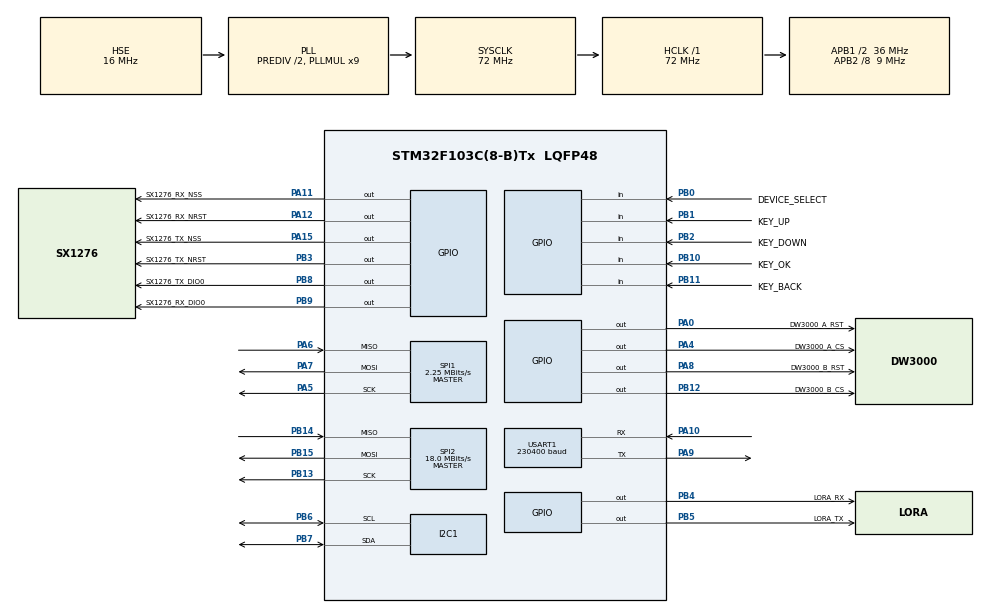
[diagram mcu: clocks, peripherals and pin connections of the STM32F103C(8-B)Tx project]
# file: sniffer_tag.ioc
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Mcu.Family=STM32F1
Mcu.Name=STM32F103C(8-B)Tx
Mcu.Package=LQFP48
NVIC.PriorityGroup=NVIC_PRIORITYGROUP_4
NVIC.TIM4_IRQn=true\:0\:0\:false\:false\:true\:true\:true\:true
NVIC.USART1_IRQn=true\:0\:0\:false\:false\:true\:true\:true\:true
PA0-WKUP.GPIO_Label=DW3000_A_RST
PA0-WKUP.Signal=GPIO_Output
PA10.Mode=Asynchronous
PA10.Signal=USART1_RX
PA11.GPIO_Label=SX1276_RX_NSS
PA11.Signal=GPIO_Output
PA12.GPIO_Label=SX1276_RX_NRST
PA12.Signal=GPIO_Output
PA13.Mode=Serial_Wire
PA13.Signal=SYS_JTMS-SWDIO
PA14.Mode=Serial_Wire
PA14.Signal=SYS_JTCK-SWCLK
PA15.GPIO_Label=SX1276_TX_NSS
PA15.Signal=GPIO_Output
PA4.GPIO_Label=DW3000_A_CS
PA4.GPIO_PuPd=GPIO_PULLUP
PA4.GPIO_Speed=GPIO_SPEED_FREQ_HIGH
PA4.PinState=GPIO_PIN_SET
PA4.Signal=GPIO_Output
PA5.Mode=Full_Duplex_Master
PA5.Signal=SPI1_SCK
PA6.Mode=Full_Duplex_Master
PA6.Signal=SPI1_MISO
PA7.Mode=Full_Duplex_Master
PA7.Signal=SPI1_MOSI
PA8.GPIO_Label=DW3000_B_RST
PA8.Signal=GPIO_Output
PA9.Mode=Asynchronous
PA9.Signal=USART1_TX
PB0.GPIO_Label=DEVICE_SELECT
PB0.GPIO_PuPd=GPIO_PULLUP
PB0.Signal=GPIO_Input
PB1.GPIO_Label=KEY_UP
PB1.GPIO_PuPd=GPIO_PULLUP
PB1.Signal=GPIO_Input
PB10.GPIO_Label=KEY_OK
PB10.GPIO_PuPd=GPIO_PULLUP
PB10.Signal=GPIO_Input
PB11.GPIO_Label=KEY_BACK
PB11.GPIO_PuPd=GPIO_PULLUP
PB11.Signal=GPIO_Input
PB12.GPIO_Label=DW3000_B_CS
PB12.GPIO_PuPd=GPIO_PULLUP
PB12.GPIO_Speed=GPIO_SPEED_FREQ_HIGH
PB12.PinState=GPIO_PIN_SET
PB12.Signal=GPIO_Output
PB13.Mode=Full_Duplex_Master
PB13.Signal=SPI2_SCK
PB14.Mode=Full_Duplex_Master
PB14.Signal=SPI2_MISO
PB15.Mode=Full_Duplex_Master
PB15.Signal=SPI2_MOSI
PB2.GPIO_Label=KEY_DOWN
PB2.GPIO_PuPd=GPIO_PULLUP
PB2.Signal=GPIO_Input
PB3.GPIO_Label=SX1276_TX_NRST
PB3.Signal=GPIO_Output
PB4.GPIO_Label=LORA_RX
PB4.Signal=GPIO_Output
PB5.GPIO_Label=LORA_TX
PB5.Signal=GPIO_Output
PB6.Mode=I2C
PB6.Signal=I2C1_SCL
PB7.Mode=I2C
PB7.Signal=I2C1_SDA
PB8.GPIO_Label=SX1276_TX_DIO0
PB8.Signal=GPIO_Output
PB9.GPIO_Label=SX1276_RX_DIO0
PB9.Signal=GPIO_Output
PD0-OSC_IN.Mode=HSE-External-Oscillator
PD0-OSC_IN.Signal=RCC_OSC_IN
PD1-OSC_OUT.Mode=HSE-External-Oscillator
PD1-OSC_OUT.Signal=RCC_OSC_OUT
ProjectManager.HeapSize=0x200
ProjectManager.StackSize=0x400
ProjectManager.TargetToolchain=STM32CubeIDE
RCC.AHBFreq_Value=72000000
RCC.APB1CLKDivider=RCC_HCLK_DIV2
RCC.APB1Freq_Value=36000000
RCC.APB1TimFreq_Value=72000000
RCC.APB2CLKDivider=RCC_HCLK_DIV8
RCC.APB2Freq_Value=9000000
RCC.APB2TimFreq_Value=18000000
RCC.HCLKFreq_Value=72000000
RCC.HSEDivPLL=RCC_HSE_PREDIV_DIV2
RCC.HSE_VALUE=16000000
RCC.PLLMUL=RCC_PLL_MUL9
RCC.PLLSourceVirtual=RCC_PLLSOURCE_HSE
RCC.SYSCLKFreq_VALUE=72000000
RCC.SYSCLKSource=RCC_SYSCLKSOURCE_PLLCLK
RCC.USBFreq_Value=72000000
SPI1.BaudRatePrescaler=SPI_BAUDRATEPRESCALER_4
SPI1.CalculateBaudRate=2.25 MBits/s
SPI1.Direction=SPI_DIRECTION_2LINES
SPI1.Mode=SPI_MODE_MASTER
SPI1.VirtualType=VM_MASTER
SPI2.BaudRatePrescaler=SPI_BAUDRATEPRESCALER_2
SPI2.CalculateBaudRate=18.0 MBits/s
SPI2.Direction=SPI_DIRECTION_2LINES
SPI2.Mode=SPI_MODE_MASTER
SPI2.VirtualType=VM_MASTER
TIM4.Period=6
TIM4.Prescaler=7200-1
USART1.BaudRate=230400
USART1.VirtualMode=VM_ASYNC
VP_TIM4_VS_ClockSourceINT.Mode=Internal
board=custom

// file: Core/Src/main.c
/* USER CODE BEGIN Header */
/**
 ******************************************************************************
 * @file           : main.c
 * @brief          : Main program body
 ******************************************************************************
 * @attention
 *
 * Copyright (c) 2024 STMicroelectronics.
 * All rights reserved.
 *
 * This software is licensed under terms that can be found in the LICENSE file
 * in the root directory of this software component.
 * If no LICENSE file comes with this software, it is provided AS-IS.
 *
 ******************************************************************************
 */
/* USER CODE END Header */
#include "main.h"

/* USER CODE BEGIN Includes */
#include "sniffer_tag.h"
/* USER CODE END Includes */

/* USER CODE BEGIN PTD */
struct flags_t flags;
double *distance_ptr;
TAG_t *tag;
int size = 0;
uint8_t running_device = DEV_UWB3000F27;
SPI_HW_t *hw_a;
SPI_HW_t *hw_b;
SPI_HW_t *hw;
dwt_local_data_t *pdw3000local;
uint8_t crcTable[256];
uint8_t recvChar;
LORA_t lora;
SX1276_HW_t sx1276_hw_tx;
SX1276_HW_t sx1276_hw_rx;
/* USER CODE END PTD */

I2C_HandleTypeDef hi2c1;

SPI_HandleTypeDef hspi1;
SPI_HandleTypeDef hspi2;

TIM_HandleTypeDef htim4;

UART_HandleTypeDef huart1;

void SystemClock_Config(void);
static void MX_GPIO_Init(void);
static void MX_SPI1_Init(void);
static void MX_SPI2_Init(void);
static void MX_TIM4_Init(void);
static void MX_USART1_UART_Init(void);
static void MX_I2C1_Init(void);

int main(void)
{

  /* USER CODE BEGIN 1 */
	HAL_DeInit();
	HAL_RCC_DeInit();

  /* USER CODE END 1 */

  /* MCU Configuration--------------------------------------------------------*/

  /* Reset of all peripherals, Initializes the Flash interface and the Systick. */
  HAL_Init();

  /* Configure the system clock */
  SystemClock_Config();

  /* Initialize all configured peripherals */
  MX_GPIO_Init();
  MX_SPI1_Init();
  MX_SPI2_Init();
  MX_TIM4_Init();
  MX_USART1_UART_Init();
  MX_I2C1_Init();
  /* USER CODE BEGIN 2 */

	pdw3000local = malloc(sizeof(dwt_local_data_t));

	init_sx1276_hw(&sx1276_hw_tx, &hspi2, SX1276_TX_NSS_GPIO_Port,
	SX1276_TX_NSS_Pin,
	SX1276_TX_NRST_GPIO_Port, SX1276_TX_NRST_Pin,
	SX1276_TX_DIO0_GPIO_Port,
	SX1276_TX_DIO0_Pin);

	init_sx1276_hw(&sx1276_hw_rx, &hspi2, SX1276_RX_NSS_GPIO_Port,
	SX1276_RX_NSS_Pin,
	SX1276_RX_NRST_GPIO_Port, SX1276_RX_NRST_Pin,
	SX1276_RX_DIO0_GPIO_Port,
	SX1276_RX_DIO0_Pin);

	lora_init(&lora, &sx1276_hw_tx, &sx1276_hw_rx);
	TAG_List list = { NULL, 0 };
	SPI_HW_t *hw_a = init_uwb_device(&hspi1, DW3000_A_CS_GPIO_Port,
	DW3000_A_CS_Pin,
	DW3000_A_RST_GPIO_Port, DW3000_A_RST_Pin);
	SPI_HW_t *hw_b = init_uwb_device(&hspi1, DW3000_B_CS_GPIO_Port,
	DW3000_B_CS_Pin,
	DW3000_B_RST_GPIO_Port, DW3000_B_RST_Pin);

	/* Frames used in the ranging process. See NOTE 2 below. */

	/* Hold copy of status register state here for reference so that it can be examined at a debug breakpoint. */
	TAG_t tag;
	reset_TAG_values(&tag);

	TAG_STATUS_t tag_status = TAG_DISCOVERY;
	uint32_t lora_send_timeout = 5000;
	uint32_t lora_send_ticks = HAL_GetTick();
	uint32_t query_timeout = 1000;
	uint32_t query_ticks;

	RDSS_status_t rdss_status;

	/* Time-stamps of frames transmission/reception, expressed in device time units. */
  /* USER CODE END 2 */

  /* Infinite loop */
  /* USER CODE BEGIN WHILE */

	while (1) {
		if (tag_status == TAG_DISCOVERY) {

			if (hw == hw_a) {
				hw = hw_b;
				tag.distance = &(tag.distance_b);
			} else {
				hw = hw_a;
				tag.distance = &(tag.distance_a);
			}

			tag_status = tag_discovery(&tag);

			if (tag_status != TAG_SEND_TIMESTAMP_QUERY)
				tag_status = TAG_DISCOVERY;
			else
				query_ticks = HAL_GetTick();
			set_battery_voltage(&(tag.battery_voltage));
			set_temperature(&(tag.temperature));
			debug(tag, tag_status);

		} else if (tag_status == TAG_SEND_TIMESTAMP_QUERY) {
			if (tag.readings < DISTANCE_READINGS) {
				if (hw == hw_a) {
					hw = hw_b;
					tag.distance = &(tag.distance_b);
				} else {
					hw = hw_a;
					tag.distance = &(tag.distance_a);
				}
				tag.command = TAG_TIMESTAMP_QUERY;
			}
			if (tag.readings == DISTANCE_READINGS - 2) {
				tag.command = TAG_SET_SLEEP_MODE;
				tag_status = TAG_SEND_SET_SLEEP;
			}
			debug(tag, tag_status);
			tag_status = tag_send_timestamp_query(&tag);

			if (tag_status == TAG_SEND_TIMESTAMP_QUERY) {
				tag.readings++;
				tag_status = TAG_SEND_TIMESTAMP_QUERY;

			} else if (tag_status == TAG_END_READINGS) {
				double distance_a_sum = 0;
				double distance_b_sum = 0;
				for (uint8_t i = 0; i < tag.distance_a.counter; i++)
					distance_a_sum += tag.distance_a.readings[i];

				for (uint8_t i = 0; i < tag.distance_b.counter; i++)
					distance_b_sum += tag.distance_b.readings[i];

				tag.distance_a.value = (uint16_t) ((distance_a_sum * 100)
						/ tag.distance_a.counter);
				tag.distance_b.value = (uint16_t) ((distance_b_sum * 100)
						/ tag.distance_b.counter);
				insert_tag(&list, tag);
				tag_status = TAG_DISCOVERY;
				reset_TAG_values(&tag);
			} else {
				tag_status = TAG_SEND_TIMESTAMP_QUERY;
			}
			debug(tag, tag_status);
			if (HAL_GetTick() - query_ticks > query_timeout) {
				tag_status = TAG_DISCOVERY;
				reset_TAG_values(&tag);
			}

		}

		if (read_lora_packet(&lora) > 0) {
			rdss_status = rdss_validation(lora.rxData, lora.rxSize, 0x00);
			if (rdss_status == DATA_OK) {
				uint8_t *rx = lora.rxData;
				size_t temp_value = 1 + list.count * SERIALIZED_TAG_SIZE; // Or use uint32_t
				uint8_t tag_bytes = (uint8_t) temp_value;
				uint8_t response_length = calculate_frame_length(tag_bytes);
				uint8_t *tx = malloc(sizeof(uint8_t) * response_length);
				if (tx == NULL) {
					Error_Handler();
				}
				memset(tx, 0, response_length);
				memcpy(tx, rx, LORA_DATA_LENGHT_INDEX_1);
				memcpy(tx + LORA_DATA_LENGHT_INDEX_1, &tag_bytes,
						sizeof(tag_bytes));
				uint8_t *tx_data = tx + LORA_DATA_START_INDEX;
				tx_data[0] = list.count;
				tx_data++;
				serialize_tag_list(&list, tx_data);
				uint8_t CRC_INDEX = LORA_DATA_START_INDEX
						+ tx[LORA_DATA_LENGHT_INDEX_1];
				uint8_t END_INDEX = CRC_INDEX + CRC_SIZE;
				setCrc(tx, CRC_INDEX);
				tx[END_INDEX] = LTEL_END_MARK;
				HAL_GPIO_WritePin(LORA_TX_GPIO_Port, LORA_TX_Pin,
						GPIO_PIN_RESET);
				write_lora_RegFifo(lora.txhw, tx, response_length);
				start_lora_transmission(lora.txhw);
				HAL_GPIO_WritePin(LORA_TX_GPIO_Port, LORA_TX_Pin, GPIO_PIN_SET);
				serialize_tag_list(&list, tx_data);
				free(tx);
				print_all_tags(&list, tag_status);
				print_serialized_tags(&list);
				free_tag_list(&list);
				restart_lora_rx_continuous_mode(&lora);
			} else {
				lora_reset(lora.txhw);
				lora_reset(lora.rxhw);
				init_lora_parameters(&lora);
			}
		}

		if (((HAL_GetTick() - lora_send_ticks) > lora_send_timeout)
				&& tag_status == TAG_DISCOVERY) {
			debug_status(tag_status);
			size_t temp_value = 1 + list.count * SERIALIZED_TAG_SIZE; // Or use uint32_t
			uint8_t tag_bytes = (uint8_t) temp_value;
			uint8_t response_length = calculate_frame_length(tag_bytes);
			uint8_t tx[response_length];
			memset(tx, 0, response_length);
			memcpy(tx + LORA_DATA_LENGHT_INDEX_1, &tag_bytes,
					sizeof(tag_bytes));
			uint8_t *tx_data = tx + LORA_DATA_START_INDEX;
			tx_data[0] = list.count;
			tx_data++;
			serialize_tag_list(&list, tx_data);
			uint8_t CRC_INDEX = LORA_DATA_START_INDEX
					+ tx[LORA_DATA_LENGHT_INDEX_1];
			uint8_t END_INDEX = CRC_INDEX + CRC_SIZE;
			setCrc(tx, CRC_INDEX);
			tx[END_INDEX] = LTEL_END_MARK;
			print_all_tags(&list, tag_status);
			print_serialized_tags(&list);
			print_tx_hex(tx, response_length);
			free_tag_list(&list);
			lora_send_ticks = HAL_GetTick();
		}
    /* USER CODE END WHILE */

	}
}

void SystemClock_Config(void)
{
  RCC_OscInitTypeDef RCC_OscInitStruct = {0};
  RCC_ClkInitTypeDef RCC_ClkInitStruct = {0};

  /** Initializes the RCC Oscillators according to the specified parameters
  * in the RCC_OscInitTypeDef structure.
  */
  RCC_OscInitStruct.OscillatorType = RCC_OSCILLATORTYPE_HSE;
  RCC_OscInitStruct.HSEState = RCC_HSE_ON;
  RCC_OscInitStruct.HSEPredivValue = RCC_HSE_PREDIV_DIV2;
  RCC_OscInitStruct.HSIState = RCC_HSI_ON;
  RCC_OscInitStruct.PLL.PLLState = RCC_PLL_ON;
  RCC_OscInitStruct.PLL.PLLSource = RCC_PLLSOURCE_HSE;
  RCC_OscInitStruct.PLL.PLLMUL = RCC_PLL_MUL9;
  if (HAL_RCC_OscConfig(&RCC_OscInitStruct) != HAL_OK)
  {
    Error_Handler();
  }

  /** Initializes the CPU, AHB and APB buses clocks
  */
  RCC_ClkInitStruct.ClockType = RCC_CLOCKTYPE_HCLK|RCC_CLOCKTYPE_SYSCLK
                              |RCC_CLOCKTYPE_PCLK1|RCC_CLOCKTYPE_PCLK2;
  RCC_ClkInitStruct.SYSCLKSource = RCC_SYSCLKSOURCE_PLLCLK;
  RCC_ClkInitStruct.AHBCLKDivider = RCC_SYSCLK_DIV1;
  RCC_ClkInitStruct.APB1CLKDivider = RCC_HCLK_DIV2;
  RCC_ClkInitStruct.APB2CLKDivider = RCC_HCLK_DIV8;

  if (HAL_RCC_ClockConfig(&RCC_ClkInitStruct, FLASH_LATENCY_2) != HAL_OK)
  {
    Error_Handler();
  }
}

static void MX_I2C1_Init(void)
{

  hi2c1.Instance = I2C1;
  hi2c1.Init.ClockSpeed = 100000;
  hi2c1.Init.DutyCycle = I2C_DUTYCYCLE_2;
  hi2c1.Init.OwnAddress1 = 0;
  hi2c1.Init.AddressingMode = I2C_ADDRESSINGMODE_7BIT;
  hi2c1.Init.DualAddressMode = I2C_DUALADDRESS_DISABLE;
  hi2c1.Init.OwnAddress2 = 0;
  hi2c1.Init.GeneralCallMode = I2C_GENERALCALL_DISABLE;
  hi2c1.Init.NoStretchMode = I2C_NOSTRETCH_DISABLE;
  if (HAL_I2C_Init(&hi2c1) != HAL_OK)
  {
    Error_Handler();
  }

}

static void MX_SPI1_Init(void)
{

  /* SPI1 parameter configuration*/
  hspi1.Instance = SPI1;
  hspi1.Init.Mode = SPI_MODE_MASTER;
  hspi1.Init.Direction = SPI_DIRECTION_2LINES;
  hspi1.Init.DataSize = SPI_DATASIZE_8BIT;
  hspi1.Init.CLKPolarity = SPI_POLARITY_LOW;
  hspi1.Init.CLKPhase = SPI_PHASE_1EDGE;
  hspi1.Init.NSS = SPI_NSS_SOFT;
  hspi1.Init.BaudRatePrescaler = SPI_BAUDRATEPRESCALER_4;
  hspi1.Init.FirstBit = SPI_FIRSTBIT_MSB;
  hspi1.Init.TIMode = SPI_TIMODE_DISABLE;
  hspi1.Init.CRCCalculation = SPI_CRCCALCULATION_DISABLE;
  hspi1.Init.CRCPolynomial = 10;
  if (HAL_SPI_Init(&hspi1) != HAL_OK)
  {
    Error_Handler();
  }

}

static void MX_SPI2_Init(void)
{

  /* SPI2 parameter configuration*/
  hspi2.Instance = SPI2;
  hspi2.Init.Mode = SPI_MODE_MASTER;
  hspi2.Init.Direction = SPI_DIRECTION_2LINES;
  hspi2.Init.DataSize = SPI_DATASIZE_8BIT;
  hspi2.Init.CLKPolarity = SPI_POLARITY_LOW;
  hspi2.Init.CLKPhase = SPI_PHASE_1EDGE;
  hspi2.Init.NSS = SPI_NSS_SOFT;
  hspi2.Init.BaudRatePrescaler = SPI_BAUDRATEPRESCALER_2;
  hspi2.Init.FirstBit = SPI_FIRSTBIT_MSB;
  hspi2.Init.TIMode = SPI_TIMODE_DISABLE;
  hspi2.Init.CRCCalculation = SPI_CRCCALCULATION_DISABLE;
  hspi2.Init.CRCPolynomial = 10;
  if (HAL_SPI_Init(&hspi2) != HAL_OK)
  {
    Error_Handler();
  }

}

static void MX_TIM4_Init(void)
{

  TIM_ClockConfigTypeDef sClockSourceConfig = {0};
  TIM_MasterConfigTypeDef sMasterConfig = {0};

  htim4.Instance = TIM4;
  htim4.Init.Prescaler = 7200-1;
  htim4.Init.CounterMode = TIM_COUNTERMODE_UP;
  htim4.Init.Period = 6;
  htim4.Init.ClockDivision = TIM_CLOCKDIVISION_DIV1;
  htim4.Init.AutoReloadPreload = TIM_AUTORELOAD_PRELOAD_DISABLE;
  if (HAL_TIM_Base_Init(&htim4) != HAL_OK)
  {
    Error_Handler();
  }
  sClockSourceConfig.ClockSource = TIM_CLOCKSOURCE_INTERNAL;
  if (HAL_TIM_ConfigClockSource(&htim4, &sClockSourceConfig) != HAL_OK)
  {
    Error_Handler();
  }
  sMasterConfig.MasterOutputTrigger = TIM_TRGO_RESET;
  sMasterConfig.MasterSlaveMode = TIM_MASTERSLAVEMODE_DISABLE;
  if (HAL_TIMEx_MasterConfigSynchronization(&htim4, &sMasterConfig) != HAL_OK)
  {
    Error_Handler();
  }
  /* USER CODE BEGIN TIM4_Init 2 */
	HAL_TIM_Base_Start_IT(&htim4);
  /* USER CODE END TIM4_Init 2 */

}

static void MX_USART1_UART_Init(void)
{

  huart1.Instance = USART1;
  huart1.Init.BaudRate = 230400;
  huart1.Init.WordLength = UART_WORDLENGTH_8B;
  huart1.Init.StopBits = UART_STOPBITS_1;
  huart1.Init.Parity = UART_PARITY_NONE;
  huart1.Init.Mode = UART_MODE_TX_RX;
  huart1.Init.HwFlowCtl = UART_HWCONTROL_NONE;
  huart1.Init.OverSampling = UART_OVERSAMPLING_16;
  if (HAL_UART_Init(&huart1) != HAL_OK)
  {
    Error_Handler();
  }
  /* USER CODE BEGIN USART1_Init 2 */

	HAL_UART_Receive_IT(&huart1, &recvChar, 1);

  /* USER CODE END USART1_Init 2 */

}

static void MX_GPIO_Init(void)
{
  GPIO_InitTypeDef GPIO_InitStruct = {0};

  /* GPIO Ports Clock Enable */
  __HAL_RCC_GPIOD_CLK_ENABLE();
  __HAL_RCC_GPIOA_CLK_ENABLE();
  __HAL_RCC_GPIOB_CLK_ENABLE();

  /*Configure GPIO pin Output Level */
  HAL_GPIO_WritePin(GPIOA, DW3000_A_RST_Pin|DW3000_B_RST_Pin|SX1276_RX_NSS_Pin|SX1276_RX_NRST_Pin
                          |SX1276_TX_NSS_Pin, GPIO_PIN_RESET);

  /*Configure GPIO pin Output Level */
  HAL_GPIO_WritePin(DW3000_A_CS_GPIO_Port, DW3000_A_CS_Pin, GPIO_PIN_SET);

  /*Configure GPIO pin Output Level */
  HAL_GPIO_WritePin(DW3000_B_CS_GPIO_Port, DW3000_B_CS_Pin, GPIO_PIN_SET);

  /*Configure GPIO pin Output Level */
  HAL_GPIO_WritePin(GPIOB, SX1276_TX_NRST_Pin|LORA_RX_Pin|LORA_TX_Pin|SX1276_TX_DIO0_Pin
                          |SX1276_RX_DIO0_Pin, GPIO_PIN_RESET);

  /*Configure GPIO pins : DW3000_A_RST_Pin DW3000_B_RST_Pin SX1276_RX_NSS_Pin SX1276_RX_NRST_Pin
                           SX1276_TX_NSS_Pin */
  GPIO_InitStruct.Pin = DW3000_A_RST_Pin|DW3000_B_RST_Pin|SX1276_RX_NSS_Pin|SX1276_RX_NRST_Pin
                          |SX1276_TX_NSS_Pin;
  GPIO_InitStruct.Mode = GPIO_MODE_OUTPUT_PP;
  GPIO_InitStruct.Pull = GPIO_NOPULL;
  GPIO_InitStruct.Speed = GPIO_SPEED_FREQ_LOW;
  HAL_GPIO_Init(GPIOA, &GPIO_InitStruct);

  /*Configure GPIO pin : DW3000_A_CS_Pin */
  GPIO_InitStruct.Pin = DW3000_A_CS_Pin;
  GPIO_InitStruct.Mode = GPIO_MODE_OUTPUT_PP;
  GPIO_InitStruct.Pull = GPIO_PULLUP;
  GPIO_InitStruct.Speed = GPIO_SPEED_FREQ_HIGH;
  HAL_GPIO_Init(DW3000_A_CS_GPIO_Port, &GPIO_InitStruct);

  /*Configure GPIO pins : DEVICE_SELECT_Pin KEY_UP_Pin KEY_DOWN_Pin KEY_OK_Pin
                           KEY_BACK_Pin */
  GPIO_InitStruct.Pin = DEVICE_SELECT_Pin|KEY_UP_Pin|KEY_DOWN_Pin|KEY_OK_Pin
                          |KEY_BACK_Pin;
  GPIO_InitStruct.Mode = GPIO_MODE_INPUT;
  GPIO_InitStruct.Pull = GPIO_PULLUP;
  HAL_GPIO_Init(GPIOB, &GPIO_InitStruct);

  /*Configure GPIO pin : DW3000_B_CS_Pin */
  GPIO_InitStruct.Pin = DW3000_B_CS_Pin;
  GPIO_InitStruct.Mode = GPIO_MODE_OUTPUT_PP;
  GPIO_InitStruct.Pull = GPIO_PULLUP;
  GPIO_InitStruct.Speed = GPIO_SPEED_FREQ_HIGH;
  HAL_GPIO_Init(DW3000_B_CS_GPIO_Port, &GPIO_InitStruct);

  /*Configure GPIO pins : SX1276_TX_NRST_Pin LORA_RX_Pin LORA_TX_Pin SX1276_TX_DIO0_Pin
                           SX1276_RX_DIO0_Pin */
  GPIO_InitStruct.Pin = SX1276_TX_NRST_Pin|LORA_RX_Pin|LORA_TX_Pin|SX1276_TX_DIO0_Pin
                          |SX1276_RX_DIO0_Pin;
  GPIO_InitStruct.Mode = GPIO_MODE_OUTPUT_PP;
  GPIO_InitStruct.Pull = GPIO_NOPULL;
  GPIO_InitStruct.Speed = GPIO_SPEED_FREQ_LOW;
  HAL_GPIO_Init(GPIOB, &GPIO_InitStruct);

}

void Error_Handler(void)
{
	__disable_irq();
	while (1) {
	}
}
